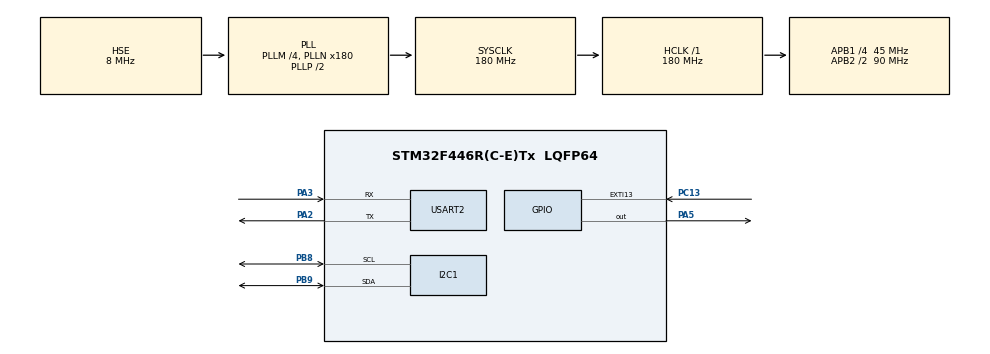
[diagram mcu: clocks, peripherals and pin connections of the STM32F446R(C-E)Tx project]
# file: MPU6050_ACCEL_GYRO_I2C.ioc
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I2C1.I2C_Mode=I2C_Fast
Mcu.Family=STM32F4
Mcu.Name=STM32F446R(C-E)Tx
Mcu.Package=LQFP64
NVIC.EXTI15_10_IRQn=true\:0\:0\:false\:false\:true\:true\:true\:true
NVIC.PriorityGroup=NVIC_PRIORITYGROUP_0
PA13.Mode=Serial_Wire
PA13.Signal=SYS_JTMS-SWDIO
PA14.Mode=Serial_Wire
PA14.Signal=SYS_JTCK-SWCLK
PA2.Mode=Asynchronous
PA2.Signal=USART2_TX
PA3.Mode=Asynchronous
PA3.Signal=USART2_RX
PA5.Signal=GPIO_Output
PB8.Mode=I2C
PB8.Signal=I2C1_SCL
PB9.Mode=I2C
PB9.Signal=I2C1_SDA
PC13.Signal=GPXTI13
PH0-OSC_IN.Mode=HSE-External-Oscillator
PH0-OSC_IN.Signal=RCC_OSC_IN
PH1-OSC_OUT.Mode=HSE-External-Oscillator
PH1-OSC_OUT.Signal=RCC_OSC_OUT
ProjectManager.HeapSize=0x200
ProjectManager.StackSize=0x400
ProjectManager.TargetToolchain=STM32CubeIDE
RCC.48MHZClocksFreq_Value=84000000
RCC.AHBFreq_Value=180000000
RCC.APB1CLKDivider=RCC_HCLK_DIV4
RCC.APB1Freq_Value=45000000
RCC.APB1TimFreq_Value=90000000
RCC.APB2CLKDivider=RCC_HCLK_DIV2
RCC.APB2Freq_Value=90000000
RCC.APB2TimFreq_Value=180000000
RCC.CortexFreq_Value=180000000
RCC.FLatency-AdvancedSettings=FLASH_LATENCY_5
RCC.HCLKFreq_Value=180000000
RCC.HSE_VALUE=8000000
RCC.HSI_VALUE=16000000
RCC.PLLM=4
RCC.PLLN=180
RCC.PLLSourceVirtual=RCC_PLLSOURCE_HSE
RCC.SYSCLKFreq_VALUE=180000000
RCC.SYSCLKSource=RCC_SYSCLKSOURCE_PLLCLK
RCC.USBFreq_Value=180000000
RCC.VCOOutputFreq_Value=360000000
USART2.VirtualMode=VM_ASYNC
board=NUCLEO-F446RE

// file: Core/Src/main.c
/* USER CODE BEGIN Header */
/**
  ******************************************************************************
  * @file           : main.c
  * @brief          : Main program body
  ******************************************************************************
  * @attention
  *
  * Copyright (c) 2024 STMicroelectronics.
  * All rights reserved.
  *
  * This software is licensed under terms that can be found in the LICENSE file
  * in the root directory of this software component.
  * If no LICENSE file comes with this software, it is provided AS-IS.
  *
  ******************************************************************************
  */
/* USER CODE END Header */
#include "main.h"

/* USER CODE BEGIN Includes */
#include <stdio.h>
#include <string.h>

/* USER CODE END Includes */

/* USER CODE BEGIN PD */

#define  MPU6050_ADDRESS 0x68<<1
#define SMPLRT_DIV_REG   0x19
#define GYRO_CONFIG_REG  0x1B
#define ACCEL_CONFIG_REG 0x1C
#define ACCEL_XOUT_H_REG 0x3B
#define TEMP_OUT_H_REG   0x41
#define GYRO_XOUT_H_REG  0x43
#define PWR_MGMT_1_REG   0x68
#define WHO_AM_I_REG     0x75

/* USER CODE END PD */

I2C_HandleTypeDef hi2c1;

UART_HandleTypeDef huart2;

/* USER CODE BEGIN PV */
uint16_t Accel_X_RAW = 0;
uint16_t Accel_Y_RAW = 0;
uint16_t Accel_Z_RAW = 0;

uint16_t Gyro_X_RAW = 0;
uint16_t Gyro_Y_RAW = 0;
uint16_t Gyro_Z_RAW = 0;

double Ax = 0;
double Ay = 0;
double Az = 0;

double Gx = 0;
double Gy = 0;
double Gz = 0;

/* USER CODE END PV */

void SystemClock_Config(void);
static void MX_GPIO_Init(void);
static void MX_I2C1_Init(void);
static void MX_USART2_UART_Init(void);

/* USER CODE BEGIN 0 */

void MPU6050_initialization( void ) {

	uint8_t check,data;

	HAL_I2C_Mem_Read(&hi2c1, 0x68<<1, 0x75, 1, &check, 1, HAL_MAX_DELAY);

	if(check == 104) {

		data = 0x00;
		HAL_I2C_Mem_Write(&hi2c1, MPU6050_ADDRESS, PWR_MGMT_1_REG, 1, &data, 1, HAL_MAX_DELAY);

		data = 0x07;
		HAL_I2C_Mem_Write(&hi2c1, MPU6050_ADDRESS, SMPLRT_DIV_REG, 1, &data, 1, HAL_MAX_DELAY);

		data = 0x00;
		HAL_I2C_Mem_Write(&hi2c1, MPU6050_ADDRESS, ACCEL_CONFIG_REG, 1, &data, 1, HAL_MAX_DELAY);

		data = 0x00;
		HAL_I2C_Mem_Write(&hi2c1, MPU6050_ADDRESS, GYRO_CONFIG_REG, 1, &data, 1, HAL_MAX_DELAY);
	}
}

void MPU6050_Read_Accel( void ) {

	uint8_t Rec_Data[6];

	HAL_I2C_Mem_Read(&hi2c1, MPU6050_ADDRESS, ACCEL_XOUT_H_REG, 1, Rec_Data, 6, HAL_MAX_DELAY);
	Accel_X_RAW = (uint16_t) (Rec_Data[0] << 8 | Rec_Data[1]);
	Accel_Y_RAW = (uint16_t) (Rec_Data[2] << 8 | Rec_Data[3]);
	Accel_Z_RAW = (uint16_t) (Rec_Data[4] << 8 | Rec_Data[5]);

	Ax = (double) (Accel_X_RAW/16384.0);
	Ay = (double) (Accel_Y_RAW/16384.0);
	Az = (double) (Accel_Z_RAW/16384.0);

}

void MPU6050_Read_Gyro( void ) {

	uint8_t Rec_Data[6];

	HAL_I2C_Mem_Read(&hi2c1, MPU6050_ADDRESS, GYRO_XOUT_H_REG, 1, Rec_Data, 6, HAL_MAX_DELAY);
	Gyro_X_RAW = (uint16_t) (Rec_Data[0] << 8 | Rec_Data[1]);
	Gyro_Y_RAW = (uint16_t) (Rec_Data[2] << 8 | Rec_Data[3]);
	Gyro_Z_RAW = (uint16_t) (Rec_Data[4] << 8 | Rec_Data[5]);

	Gx = (double)(Gyro_X_RAW/131.0);
	Gy = (double)(Gyro_Y_RAW/131.0);
	Gz = (double)(Gyro_Z_RAW/131.0);

}
/* USER CODE END 0 */

int main(void)
{

  /* MCU Configuration--------------------------------------------------------*/

  /* Reset of all peripherals, Initializes the Flash interface and the Systick. */
  HAL_Init();

  /* Configure the system clock */
  SystemClock_Config();

  /* Initialize all configured peripherals */
  MX_GPIO_Init();
  MX_I2C1_Init();
  MX_USART2_UART_Init();
  /* USER CODE BEGIN 2 */
  MPU6050_initialization();
  /* USER CODE END 2 */

  /* Infinite loop */
  /* USER CODE BEGIN WHILE */
  while (1)
  {
	  MPU6050_Read_Accel();
	  HAL_Delay(100);
	  MPU6050_Read_Gyro();
	  HAL_Delay(100);
    /* USER CODE END WHILE */

  }
}

void SystemClock_Config(void)
{
  RCC_OscInitTypeDef RCC_OscInitStruct = {0};
  RCC_ClkInitTypeDef RCC_ClkInitStruct = {0};

  /** Configure the main internal regulator output voltage
  */
  __HAL_RCC_PWR_CLK_ENABLE();
  __HAL_PWR_VOLTAGESCALING_CONFIG(PWR_REGULATOR_VOLTAGE_SCALE1);

  /** Initializes the RCC Oscillators according to the specified parameters
  * in the RCC_OscInitTypeDef structure.
  */
  RCC_OscInitStruct.OscillatorType = RCC_OSCILLATORTYPE_HSE;
  RCC_OscInitStruct.HSEState = RCC_HSE_ON;
  RCC_OscInitStruct.PLL.PLLState = RCC_PLL_ON;
  RCC_OscInitStruct.PLL.PLLSource = RCC_PLLSOURCE_HSE;
  RCC_OscInitStruct.PLL.PLLM = 4;
  RCC_OscInitStruct.PLL.PLLN = 180;
  RCC_OscInitStruct.PLL.PLLP = RCC_PLLP_DIV2;
  RCC_OscInitStruct.PLL.PLLQ = 2;
  RCC_OscInitStruct.PLL.PLLR = 2;
  if (HAL_RCC_OscConfig(&RCC_OscInitStruct) != HAL_OK)
  {
    Error_Handler();
  }

  /** Activate the Over-Drive mode
  */
  if (HAL_PWREx_EnableOverDrive() != HAL_OK)
  {
    Error_Handler();
  }

  /** Initializes the CPU, AHB and APB buses clocks
  */
  RCC_ClkInitStruct.ClockType = RCC_CLOCKTYPE_HCLK|RCC_CLOCKTYPE_SYSCLK
                              |RCC_CLOCKTYPE_PCLK1|RCC_CLOCKTYPE_PCLK2;
  RCC_ClkInitStruct.SYSCLKSource = RCC_SYSCLKSOURCE_PLLCLK;
  RCC_ClkInitStruct.AHBCLKDivider = RCC_SYSCLK_DIV1;
  RCC_ClkInitStruct.APB1CLKDivider = RCC_HCLK_DIV4;
  RCC_ClkInitStruct.APB2CLKDivider = RCC_HCLK_DIV2;

  if (HAL_RCC_ClockConfig(&RCC_ClkInitStruct, FLASH_LATENCY_5) != HAL_OK)
  {
    Error_Handler();
  }
}

static void MX_I2C1_Init(void)
{

  hi2c1.Instance = I2C1;
  hi2c1.Init.ClockSpeed = 400000;
  hi2c1.Init.DutyCycle = I2C_DUTYCYCLE_2;
  hi2c1.Init.OwnAddress1 = 0;
  hi2c1.Init.AddressingMode = I2C_ADDRESSINGMODE_7BIT;
  hi2c1.Init.DualAddressMode = I2C_DUALADDRESS_DISABLE;
  hi2c1.Init.OwnAddress2 = 0;
  hi2c1.Init.GeneralCallMode = I2C_GENERALCALL_DISABLE;
  hi2c1.Init.NoStretchMode = I2C_NOSTRETCH_DISABLE;
  if (HAL_I2C_Init(&hi2c1) != HAL_OK)
  {
    Error_Handler();
  }

}

static void MX_USART2_UART_Init(void)
{

  huart2.Instance = USART2;
  huart2.Init.BaudRate = 115200;
  huart2.Init.WordLength = UART_WORDLENGTH_8B;
  huart2.Init.StopBits = UART_STOPBITS_1;
  huart2.Init.Parity = UART_PARITY_NONE;
  huart2.Init.Mode = UART_MODE_TX_RX;
  huart2.Init.HwFlowCtl = UART_HWCONTROL_NONE;
  huart2.Init.OverSampling = UART_OVERSAMPLING_16;
  if (HAL_UART_Init(&huart2) != HAL_OK)
  {
    Error_Handler();
  }

}

static void MX_GPIO_Init(void)
{
  GPIO_InitTypeDef GPIO_InitStruct = {0};

  /* GPIO Ports Clock Enable */
  __HAL_RCC_GPIOC_CLK_ENABLE();
  __HAL_RCC_GPIOH_CLK_ENABLE();
  __HAL_RCC_GPIOA_CLK_ENABLE();
  __HAL_RCC_GPIOB_CLK_ENABLE();

  /*Configure GPIO pin Output Level */
  HAL_GPIO_WritePin(GPIOA, GPIO_PIN_5, GPIO_PIN_RESET);

  /*Configure GPIO pin : PC13 */
  GPIO_InitStruct.Pin = GPIO_PIN_13;
  GPIO_InitStruct.Mode = GPIO_MODE_IT_RISING;
  GPIO_InitStruct.Pull = GPIO_NOPULL;
  HAL_GPIO_Init(GPIOC, &GPIO_InitStruct);

  /*Configure GPIO pin : PA5 */
  GPIO_InitStruct.Pin = GPIO_PIN_5;
  GPIO_InitStruct.Mode = GPIO_MODE_OUTPUT_PP;
  GPIO_InitStruct.Pull = GPIO_NOPULL;
  GPIO_InitStruct.Speed = GPIO_SPEED_FREQ_LOW;
  HAL_GPIO_Init(GPIOA, &GPIO_InitStruct);

  /* EXTI interrupt init*/
  HAL_NVIC_SetPriority(EXTI15_10_IRQn, 0, 0);
  HAL_NVIC_EnableIRQ(EXTI15_10_IRQn);

}

void Error_Handler(void)
{
  __disable_irq();
  while (1)
  {
  }
}
